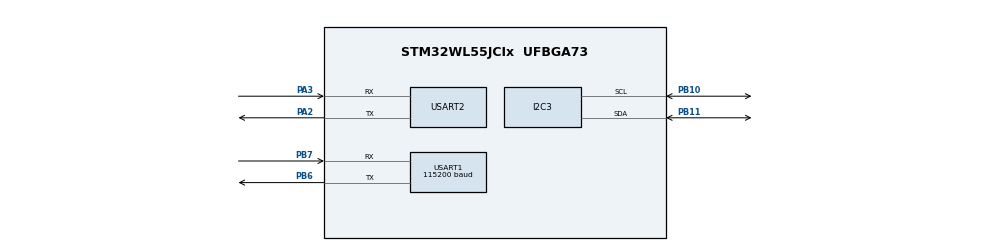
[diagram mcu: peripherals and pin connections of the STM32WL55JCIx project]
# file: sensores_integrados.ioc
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I2C3.Timing=0x00B07CB4
Mcu.Family=STM32WL
Mcu.Name=STM32WL55JCIx
Mcu.Package=UFBGA73
NVIC.I2C3_ER_IRQn=true\:0\:0\:false\:false\:true\:true\:true\:true
NVIC.I2C3_EV_IRQn=true\:0\:0\:false\:false\:true\:true\:true\:true
NVIC.PriorityGroup=NVIC_PRIORITYGROUP_4
NVIC.USART1_IRQn=true\:0\:0\:false\:false\:true\:true\:true\:true
NVIC.USART2_IRQn=true\:0\:0\:false\:false\:true\:true\:true\:true
PA2.Mode=Asynchronous
PA2.Signal=USART2_TX
PA3.Mode=Asynchronous
PA3.Signal=USART2_RX
PB10.GPIO_Pu=GPIO_PULLUP
PB10.Mode=I2C
PB10.Signal=I2C3_SCL
PB11.GPIO_Pu=GPIO_PULLUP
PB11.Mode=I2C
PB11.Signal=I2C3_SDA
PB6.Mode=Asynchronous
PB6.Signal=USART1_TX
PB7.Mode=Asynchronous
PB7.Signal=USART1_RX
ProjectManager.HeapSize=0x200
ProjectManager.StackSize=0x400
ProjectManager.TargetToolchain=STM32CubeIDE
RCC.AHBFreq_Value=32000000
RCC.APB1Freq_Value=32000000
RCC.APB1TimFreq_Value=32000000
RCC.APB2Freq_Value=32000000
RCC.APB2TimFreq_Value=32000000
RCC.APB3Freq_Value=32000000
RCC.CortexFreq_Value=32000000
RCC.HCLKFreq_Value=32000000
RCC.HSE_VALUE=8000000
RCC.HSI_VALUE=16000000
RCC.LSE_VALUE=32768
RCC.MSIClockRange=RCC_MSIRANGE_10
RCC.SYSCLKFreq_VALUE=32000000
RCC.VCOOutputFreq_Value=256000000
USART1.BaudRate=115200
USART1.VirtualMode-Asynchronous=VM_ASYNC
USART2.VirtualMode-Asynchronous=VM_ASYNC
board=custom

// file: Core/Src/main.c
/* USER CODE BEGIN Header */
/**
 ******************************************************************************
 * @file           : main.c
 * @brief          : Main program body
 ******************************************************************************
 */
/* USER CODE END Header */
#include "main.h"
#include "driver_bmp280.h"
#include "driver_bmp280_interface.h"
/* USER CODE BEGIN Includes */
#include <string.h>
#include <stdio.h>
#include <stdlib.h>
#include <bmi270_config.h>
#include <stdbool.h>
/* USER CODE END Includes */

/* USER CODE BEGIN PTD */
//Direcciones BMI270
#define BMI270_I2C_ADDR     (0x68 << 1)
#define REG_CHIP_ID         0x00
#define REG_PWR_CONF        0x7C
#define REG_INIT_CTRL       0x59
#define REG_INIT_DATA       0x5E
#define REG_INTERNAL_STATUS 0x21
#define REG_PWR_CTRL        0x7D
#define REG_ACC_CONF        0x40
#define REG_ACC_RANGE       0x41
#define REG_DATA_8          0x0C
#define REG_TEMP_LSB        0x22
//Direcciones SHT21
#define SHT21_I2C_ADDR   (0x40 << 1) // Dirección I2C desplazada 1 bit
#define CMD_MEASURE_T    0xF3        // Trigger T measurement (no hold master)
#define CMD_MEASURE_RH   0xF5        // Trigger RH measurement (no hold master)
//Dirección BMP280BMP280 (SDO GND)
#define BMP280_ADDRESS_0 	0x76
#define BMP280_REG_CTRL_MEAS 0xF4
#define BMP280_REG_CONFIG    0xF5
#define BMP280_REG_DATA      0xF7
/* USER CODE END PTD */

/* USER CODE BEGIN PD */
// FIX: Los defines de LoRa se eliminaron de aquí.
// Ahora viven únicamente en subghz_phy_app.c para evitar redefinición.
/* USER CODE END PD */

I2C_HandleTypeDef hi2c3;
UART_HandleTypeDef huart1;
UART_HandleTypeDef huart2;

/* USER CODE BEGIN PV */
uint8_t rx_data;
uint8_t rx_data_uart2; // Variable para capturar el input del menú

// --- ESTADOS DEL MENÚ ---
volatile uint8_t display_mode = 2; // 1 = ASCII, 2 = TLV (Default)
volatile uint8_t menu_active = 0;  // 0 = Mostrando datos, 1 = Mostrando menú

// --- BÚFER CIRCULAR GPS ---
#define RX_BUF_SIZE 512
volatile uint8_t rx_buffer[RX_BUF_SIZE];
volatile uint16_t rx_head = 0;
volatile uint16_t rx_tail = 0;

// --- PARSEO NMEA ---
char line_buffer[100];
uint8_t line_index = 0;

// --- BÚFER LORA TLV ---
uint8_t lora_tx_buffer[64];
uint8_t lora_tx_len = 0;

// FIX: radio_tx_done vive en subghz_phy_app.c, aquí solo la declaramos extern
extern volatile uint8_t radio_tx_done;
/* USER CODE END PV */

void SystemClock_Config(void);
static void MX_GPIO_Init(void);
static void MX_USART1_UART_Init(void);
static void MX_USART2_UART_Init(void);
static void MX_I2C3_Init(void);
/* USER CODE BEGIN PFP */
void UART_Print(const char *msg);
/* USER CODE END PFP */

/* USER CODE BEGIN 0 */

bmp280_handle_t gs_handle;

void BMI270_WriteReg(uint8_t reg, uint8_t val) {
	char dbg[70];
	snprintf(dbg, sizeof(dbg), "   [I2C] Escribiendo registro 0x%02X... ", reg);
	UART_Print(dbg);

	HAL_StatusTypeDef status = HAL_I2C_Mem_Write(&hi2c3, BMI270_I2C_ADDR, reg,
	I2C_MEMADD_SIZE_8BIT, &val, 1, 100);

	snprintf(dbg, sizeof(dbg), "Status HAL: %d\r\n", status);
	UART_Print(dbg);

	for (volatile int k = 0; k < 50000; k++)
		;
}

uint8_t BMI270_ReadReg(uint8_t reg) {
	uint8_t val = 0;
	HAL_I2C_Mem_Read(&hi2c3, BMI270_I2C_ADDR, reg, I2C_MEMADD_SIZE_8BIT, &val,
			1, 100);
	return val;
}

void BMI270_ReadRegs(uint8_t reg, uint8_t *data, uint16_t len) {
	HAL_I2C_Mem_Read(&hi2c3, BMI270_I2C_ADDR, reg, I2C_MEMADD_SIZE_8BIT, data,
			len, 100);
}

HAL_StatusTypeDef BMI270_LoadConfigFile(void) {
	UART_Print("   -> Configurando punteros 0x5B y 0x5C...\r\n");
	BMI270_WriteReg(0x5B, 0x00);
	BMI270_WriteReg(0x5C, 0x00);

	UART_Print("   -> Enviando 8KB de un solo golpe (Burst Write)...\r\n");

	HAL_StatusTypeDef status = HAL_I2C_Mem_Write(&hi2c3, BMI270_I2C_ADDR,
	REG_INIT_DATA, I2C_MEMADD_SIZE_8BIT, (uint8_t*) bmi270_config_file,
			bmi270_config_file_size, 1000);

	if (status != HAL_OK) {
		char err[60];
		snprintf(err, sizeof(err),
				"   [!] Error I2C en burst write. Codigo HAL: %d\r\n", status);
		UART_Print(err);
		return status;
	}

	UART_Print("   -> Transmision completada.\r\n");
	return HAL_OK;
}

void UART_Print(const char *msg) {
	HAL_UART_Transmit(&huart2, (uint8_t*) msg, strlen(msg), HAL_MAX_DELAY);
}

float BMI270_ReadTemperature(void) {
	uint8_t raw[2];
	BMI270_ReadRegs(REG_TEMP_LSB, raw, 2);
	int16_t raw_temp = (int16_t) ((raw[1] << 8) | raw[0]);
	return (raw_temp / 512.0f) + 23.0f;
}

void get_nmea_field(const char *nmea, uint8_t field_num, char *result) {
	uint8_t comma_count = 0;
	uint8_t i = 0, j = 0;
	while (nmea[i] != '\0' && nmea[i] != '*' && comma_count <= field_num) {
		if (nmea[i] == ',') {
			comma_count++;
		} else if (comma_count == field_num) {
			result[j++] = nmea[i];
		}
		i++;
	}
	result[j] = '\0';
}

void SHT21_Read(float *temperature, float *humidity) {
	uint8_t cmd;
	uint8_t data[3];
	uint16_t raw_val;
	// 1. Leer Temperatura
	cmd = CMD_MEASURE_T;
	HAL_I2C_Master_Transmit(&hi2c3, SHT21_I2C_ADDR, &cmd, 1, HAL_MAX_DELAY); // Enviamos el comando de medición de temperatura
	HAL_Delay(85); // Esperamos el tiempo máximo de conversión para 14 bits (85 ms)
	HAL_I2C_Master_Receive(&hi2c3, SHT21_I2C_ADDR, data, 3, HAL_MAX_DELAY); // Leemos 3 bytes: MSB, LSB y CRC
	// Unimos los bytes y ponemos a '0' los últimos 2 bits de estado (0xFC = 11111100 en binario)
	raw_val = (data[0] << 8) | (data[1] & 0xFC);
	*temperature = -46.85 + 175.72 * ((float) raw_val / 65536.0); // Aplicamos la fórmula del datasheet
	// 2. Leer Humedad Relativa
	cmd = CMD_MEASURE_RH;
	HAL_I2C_Master_Transmit(&hi2c3, SHT21_I2C_ADDR, &cmd, 1, HAL_MAX_DELAY); // Enviamos el comando de medición de humedad
	HAL_Delay(29); // Esperamos el tiempo máximo de conversión para 12 bits (29 ms)
	HAL_I2C_Master_Receive(&hi2c3, SHT21_I2C_ADDR, data, 3, HAL_MAX_DELAY); // Leemos 3 bytes: MSB, LSB y CRC
	raw_val = (data[0] << 8) | (data[1] & 0xFC); // Unimos los bytes y ponemos a '0' los últimos 2 bits de estado
	*humidity = -6.0 + 125.0 * ((float) raw_val / 65536.0);	// Aplicamos la fórmula del datasheet
}

void tlv_pack_3bytes(uint8_t type, uint8_t b1, uint8_t b2, uint8_t b3) {
	lora_tx_buffer[lora_tx_len++] = type;
	lora_tx_buffer[lora_tx_len++] = 3;
	lora_tx_buffer[lora_tx_len++] = b1;
	lora_tx_buffer[lora_tx_len++] = b2;
	lora_tx_buffer[lora_tx_len++] = b3;
}

void tlv_pack_int16(uint8_t type, int16_t val) {
	lora_tx_buffer[lora_tx_len++] = type;
	lora_tx_buffer[lora_tx_len++] = 2;
	lora_tx_buffer[lora_tx_len++] = (val >> 8) & 0xFF;
	lora_tx_buffer[lora_tx_len++] = val & 0xFF;
}

void tlv_pack_accel(uint8_t type, int16_t x, int16_t y, int16_t z) {
	lora_tx_buffer[lora_tx_len++] = type;
	lora_tx_buffer[lora_tx_len++] = 6;
	lora_tx_buffer[lora_tx_len++] = (x >> 8) & 0xFF;
	lora_tx_buffer[lora_tx_len++] = x & 0xFF;
	lora_tx_buffer[lora_tx_len++] = (y >> 8) & 0xFF;
	lora_tx_buffer[lora_tx_len++] = y & 0xFF;
	lora_tx_buffer[lora_tx_len++] = (z >> 8) & 0xFF;
	lora_tx_buffer[lora_tx_len++] = z & 0xFF;
}

void tlv_pack_gps_coords(uint8_t type, int32_t lat, int32_t lon) {
	lora_tx_buffer[lora_tx_len++] = type;
	lora_tx_buffer[lora_tx_len++] = 8;
	lora_tx_buffer[lora_tx_len++] = (lat >> 24) & 0xFF;
	lora_tx_buffer[lora_tx_len++] = (lat >> 16) & 0xFF;
	lora_tx_buffer[lora_tx_len++] = (lat >> 8) & 0xFF;
	lora_tx_buffer[lora_tx_len++] = lat & 0xFF;
	lora_tx_buffer[lora_tx_len++] = (lon >> 24) & 0xFF;
	lora_tx_buffer[lora_tx_len++] = (lon >> 16) & 0xFF;
	lora_tx_buffer[lora_tx_len++] = (lon >> 8) & 0xFF;
	lora_tx_buffer[lora_tx_len++] = lon & 0xFF;
}

int32_t nmea_to_int32(char *coord_str, char dir) {
	if (strlen(coord_str) == 0)
		return 0;
	float raw = atof(coord_str);
	int degrees = (int) (raw / 100.0f);
	float minutes = raw - (degrees * 100.0f);
	float decimal_deg = degrees + (minutes / 60.0f);
	if (dir == 'S' || dir == 'W')
		decimal_deg *= -1.0f;
	return (int32_t) (decimal_deg * 100000.0f);
}

/* USER CODE END 0 */

int main(void) {

	/* MCU Configuration--------------------------------------------------------*/

	/* Reset of all peripherals, Initializes the Flash interface and the Systick. */
	HAL_Init();

	/* Configure the system clock */
	SystemClock_Config();

	/* Initialize all configured peripherals */
	MX_GPIO_Init();
	MX_USART1_UART_Init();
	MX_USART2_UART_Init();
	MX_I2C3_Init();
	HAL_Delay(3000);
	UART_Print("Inicializando sistema de telemetria...\r\n");
	//BMP280
	// 1. Enlazar las funciones de la interfaz
	DRIVER_BMP280_LINK_INIT(&gs_handle, bmp280_handle_t);

	// Enlaces I2C (Los que ya arreglamos)
	DRIVER_BMP280_LINK_IIC_INIT(&gs_handle, bmp280_interface_iic_init);
	DRIVER_BMP280_LINK_IIC_DEINIT(&gs_handle, bmp280_interface_iic_deinit);
	DRIVER_BMP280_LINK_IIC_READ(&gs_handle, bmp280_interface_iic_read);
	DRIVER_BMP280_LINK_IIC_WRITE(&gs_handle, bmp280_interface_iic_write);

	// NUEVOS: Enlaces SPI (Ficticios para pasar el control de seguridad)
	DRIVER_BMP280_LINK_SPI_INIT(&gs_handle, bmp280_interface_spi_init);
	DRIVER_BMP280_LINK_SPI_DEINIT(&gs_handle, bmp280_interface_spi_deinit);
	DRIVER_BMP280_LINK_SPI_READ(&gs_handle, bmp280_interface_spi_read);
	DRIVER_BMP280_LINK_SPI_WRITE(&gs_handle, bmp280_interface_spi_write);

	// Enlaces misceláneos
	DRIVER_BMP280_LINK_DELAY_MS(&gs_handle, bmp280_interface_delay_ms);
	DRIVER_BMP280_LINK_DEBUG_PRINT(&gs_handle, bmp280_interface_debug_print);

	// 2. Configurar el protocolo e inicializar
	bmp280_set_interface(&gs_handle, BMP280_INTERFACE_IIC);
	bmp280_set_addr_pin(&gs_handle, BMP280_ADDRESS_0); // O BMP280_ADDR_GND dependiendo de tu pin SDO

	if (bmp280_init(&gs_handle) != 0) {
		UART_Print("Error al inicializar sensor BMP280\r\n");
	}

	// 3. Configuraciones básicas (recomendadas para clima/estándar)
	bmp280_set_temperature_oversampling(&gs_handle, BMP280_OVERSAMPLING_x1);
	bmp280_set_pressure_oversampling(&gs_handle, BMP280_OVERSAMPLING_x4);
	bmp280_set_standby_time(&gs_handle, BMP280_STANDBY_TIME_500_MS);
	bmp280_set_mode(&gs_handle, BMP280_MODE_NORMAL); // Arrancar mediciones continuas

	/* USER CODE BEGIN 2 */
	uint32_t raw_temperature_bmp;
	uint32_t raw_pressure;
	float temperature_bmp280, pressure;
	float temperature_sht21, hum;
	char uart_buf[100];
	// Iniciar interrupciones de recepción para ambos UARTs
	HAL_UART_Receive_IT(&huart1, &rx_data, 1);
	HAL_UART_Receive_IT(&huart2, &rx_data_uart2, 1);

	uint8_t chip_id = BMI270_ReadReg(REG_CHIP_ID);

	if (chip_id != 0x24) {
		char err[60];
		snprintf(err, sizeof(err),
				"ERROR: BMI270 CHIP_ID=0x%02X (esperado 0x24)\r\n", chip_id);
		HAL_UART_Transmit(&huart2, (uint8_t*) err, strlen(err), HAL_MAX_DELAY);
	} else {
		BMI270_WriteReg(REG_PWR_CONF, 0x00);
		HAL_Delay(1);
		BMI270_WriteReg(REG_INIT_CTRL, 0x00);
		HAL_Delay(1);
		BMI270_LoadConfigFile();
		HAL_Delay(20);
		BMI270_WriteReg(REG_INIT_CTRL, 0x01);
		HAL_Delay(20);
		BMI270_WriteReg(REG_ACC_CONF, 0xA8);
		HAL_Delay(1);
		BMI270_WriteReg(REG_ACC_RANGE, 0x02);
		HAL_Delay(1);
		BMI270_WriteReg(REG_PWR_CTRL, 0x0E);
		HAL_Delay(1);
		BMI270_WriteReg(REG_PWR_CONF, 0x02);
		HAL_Delay(2);
		BMI270_WriteReg(0x42, 0xA9);
		HAL_Delay(1);
		BMI270_WriteReg(0x43, 0x00);
		HAL_Delay(1);
		UART_Print("BMI270 OK.\r\n");
	}

	/* USER CODE END 2 */

	/* Infinite loop */
	/* USER CODE BEGIN WHILE */
	uint32_t last_gps_time = HAL_GetTick();
	uint32_t last_imu_time = HAL_GetTick();
	while (1) {

		uint8_t trigger_telemetry = 0;
		uint8_t gps_valid = 0;

		if (rx_head != rx_tail) {
			char c = (char) rx_buffer[rx_tail];
			rx_tail = (rx_tail + 1) % RX_BUF_SIZE;

			if (c == '\n' || line_index >= sizeof(line_buffer) - 1) {
				line_buffer[line_index] = '\0';

				if (strstr(line_buffer, "GGA") != NULL) {
					last_gps_time = HAL_GetTick();
					trigger_telemetry = 1;
					gps_valid = 1;
				}
				line_index = 0;
			} else if (c != '\r') {
				line_buffer[line_index++] = c;
			}
		}

		// ==========================================
		// TAREA 2: WATCHDOG (telemetría sin GPS)
		// ==========================================
		if (HAL_GetTick() - last_gps_time > 2000) {
			if (HAL_GetTick() - last_imu_time > 1000) {
				last_imu_time = HAL_GetTick();
				trigger_telemetry = 1;
				gps_valid = 0;
			}
		} else {
			last_imu_time = HAL_GetTick();
		}

		// ==========================================
		// TAREA 3: ENSAMBLAR Y ENVIAR PAQUETE TLV
		// ==========================================
		if (trigger_telemetry == 1) {
			lora_tx_len = 0;

			// Variables NMEA subidas de scope para usarlas en el ASCII print
			char time_str[15] = { 0 }, lat_str[15] = { 0 }, ns[2] = { 0 };
			char lon_str[15] = { 0 }, ew[2] = { 0 }, alt_str[10] = { 0 },
					fix_str[2] = { 0 };

			// 1. GPS (si tiene fix)
			if (gps_valid) {
				get_nmea_field(line_buffer, 1, time_str);
				get_nmea_field(line_buffer, 2, lat_str);
				get_nmea_field(line_buffer, 3, ns);
				get_nmea_field(line_buffer, 4, lon_str);
				get_nmea_field(line_buffer, 5, ew);
				get_nmea_field(line_buffer, 6, fix_str);
				get_nmea_field(line_buffer, 9, alt_str);

				if (fix_str[0] >= '1') {
					int utc_h = (time_str[0] - '0') * 10 + (time_str[1] - '0');
					int art_h = (utc_h - 3 < 0) ? utc_h - 3 + 24 : utc_h - 3;
					uint8_t m = (time_str[2] - '0') * 10 + (time_str[3] - '0');
					uint8_t s = (time_str[4] - '0') * 10 + (time_str[5] - '0');
					tlv_pack_3bytes(0x01, (uint8_t) art_h, m, s);

					int32_t lat_int = nmea_to_int32(lat_str, ns[0]);
					int32_t lon_int = nmea_to_int32(lon_str, ew[0]);
					tlv_pack_gps_coords(0x02, lat_int, lon_int);

					int16_t alt_int = (int16_t) atof(alt_str);
					tlv_pack_int16(0x03, alt_int);
				}
			}

			// 2. IMU (siempre)
			uint8_t raw[14];
			BMI270_ReadRegs(REG_DATA_8, raw, 14);

			int16_t acc_x = (int16_t) ((raw[1] << 8) | raw[0]);
			int16_t acc_y = (int16_t) ((raw[3] << 8) | raw[2]);
			int16_t acc_z = (int16_t) ((raw[5] << 8) | raw[4]);

			// Extraemos también el giroscopio
			int16_t gyr_x = (int16_t) ((raw[7] << 8) | raw[6]);
			int16_t gyr_y = (int16_t) ((raw[9] << 8) | raw[8]);
			int16_t gyr_z = (int16_t) ((raw[11] << 8) | raw[10]);

			float temp = BMI270_ReadTemperature();

			// Paquete TLV (usando valores crudos)
			tlv_pack_accel(0x04, acc_x, acc_y, acc_z);
			int16_t temp_scaled = (int16_t) (temp * 100.0f);
			tlv_pack_int16(0x05, temp_scaled);

			// Conversión a valores reales para el Print ASCII
			// (Basado en rango de +-8g configurado en REG_ACC_RANGE = 0x02 y giroscopio por defecto de +-2000dps)
			float ax_g = acc_x / 4096.0f;
			float ay_g = acc_y / 4096.0f;
			float az_g = acc_z / 4096.0f;

			float gx_dps = gyr_x / 16.4f;
			float gy_dps = gyr_y / 16.4f;
			float gz_dps = gyr_z / 16.4f;

			//SHT21 (SIEMPRE)
			SHT21_Read(&temperature_sht21, &hum);

			//BMP280 SIEMPRE

			if (bmp280_read_temperature_pressure(&gs_handle,
					&raw_temperature_bmp, &temperature_bmp280, &raw_pressure,
					&pressure) == 0) {
				sprintf(uart_buf, "Temperatura: %.2f C, Presion: %.2f Pa\r\n",
						temperature_bmp280, pressure);
			} else {
				UART_Print("Error al leer datos BMP280\r\n");
			}
			HAL_Delay(100);

			// 3. Debug por UART
			if (!menu_active) {
				if (display_mode == 2) {
					// MODO TLV
					char debug_msg[200] = "TLV [";
					char hex_byte[5];
					for (int i = 0; i < lora_tx_len; i++) {
						snprintf(hex_byte, sizeof(hex_byte), "%02X ",
								lora_tx_buffer[i]);
						strcat(debug_msg, hex_byte);
					}
					char tail_buf[20];
					snprintf(tail_buf, sizeof(tail_buf), "] %d bytes\r\n",
							lora_tx_len);
					strcat(debug_msg, tail_buf);
					UART_Print(debug_msg);
				} else if (display_mode == 1) {
					// MODO ASCII NORMAL (Formateado según imagen)
					char ascii_msg[300];

					// 1. Verificamos si pasaron más de 2 segundos sin datos (Desconectado)
					if (HAL_GetTick() - last_gps_time > 2000) {
						snprintf(ascii_msg, sizeof(ascii_msg),
								"[GPS] Tx desconectado\r\n"
										"[IMU] A: %+.2fg %+.2fg %+.2fg | G: %+.1fdps %+.1fdps %+.1fdps | T: %.1fC\r\n"
										"[SHT21] Temperatura: %.2f C | Humedad: %.2f %%\r\n"
										"[BMP280] Temperatura: %.2f C | Presión: %.2f\r\n",
								ax_g, ay_g, az_g, gx_dps, gy_dps, gz_dps, temp,
								temperature_sht21, hum, temperature_bmp280,
								pressure);
					}
					// 2. Verificamos si hay conexión y tenemos fix satelital
					else if (gps_valid && fix_str[0] >= '1') {
						snprintf(ascii_msg, sizeof(ascii_msg),
								"[GPS] Lat: %s %s, Lon: %s %s, Alt: %s m\r\n"
										"[IMU] A: %+.2fg %+.2fg %+.2fg | G: %+.1fdps %+.1fdps %+.1fdps | T: %.1fC\r\n"
										"[SHT21] Temperatura: %.2f C | Humedad: %.2f %%\r\n"
										"[BMP280] Temperatura: %.2f C | Presión: %.2f\r\n",
								lat_str, ns, lon_str, ew, alt_str, ax_g, ay_g,
								az_g, gx_dps, gy_dps, gz_dps, temp,
								temperature_sht21, hum, temperature_bmp280,
								pressure);
					}
					// 3. Hay conexión pero aún no hay fix
					else {
						snprintf(ascii_msg, sizeof(ascii_msg),
								"\r\n[GPS] Buscando satelites...\r\n"
										"[IMU] A: %+.2fg %+.2fg %+.2fg | G: %+.1fdps %+.1fdps %+.1fdps | T: %.1fC\r\n"
										"[SHT21] Temperatura: %.2f C | Humedad: %.2f %%\r\n"
										"[BMP280] Temperatura: %.2f C | Presión: %.2f\r\n",
								ax_g, ay_g, az_g, gx_dps, gy_dps, gz_dps, temp,
								temperature_sht21, hum, temperature_bmp280,
								pressure);
					}

					UART_Print(ascii_msg);
				}
			}
		}
		/* USER CODE END WHILE */

	}
}

void SystemClock_Config(void) {
	RCC_OscInitTypeDef RCC_OscInitStruct = { 0 };
	RCC_ClkInitTypeDef RCC_ClkInitStruct = { 0 };

	/** Configure the main internal regulator output voltage
	 */
	__HAL_PWR_VOLTAGESCALING_CONFIG(PWR_REGULATOR_VOLTAGE_SCALE1);

	/** Initializes the CPU, AHB and APB buses clocks
	 */
	RCC_OscInitStruct.OscillatorType = RCC_OSCILLATORTYPE_MSI;
	RCC_OscInitStruct.MSIState = RCC_MSI_ON;
	RCC_OscInitStruct.MSICalibrationValue = RCC_MSICALIBRATION_DEFAULT;
	RCC_OscInitStruct.MSIClockRange = RCC_MSIRANGE_10;
	RCC_OscInitStruct.PLL.PLLState = RCC_PLL_NONE;
	if (HAL_RCC_OscConfig(&RCC_OscInitStruct) != HAL_OK) {
		Error_Handler();
	}

	/** Configure the SYSCLKSource, HCLK, PCLK1 and PCLK2 clocks dividers
	 */
	RCC_ClkInitStruct.ClockType = RCC_CLOCKTYPE_HCLK3 | RCC_CLOCKTYPE_HCLK
			| RCC_CLOCKTYPE_SYSCLK | RCC_CLOCKTYPE_PCLK1 | RCC_CLOCKTYPE_PCLK2;
	RCC_ClkInitStruct.SYSCLKSource = RCC_SYSCLKSOURCE_MSI;
	RCC_ClkInitStruct.AHBCLKDivider = RCC_SYSCLK_DIV1;
	RCC_ClkInitStruct.APB1CLKDivider = RCC_HCLK_DIV1;
	RCC_ClkInitStruct.APB2CLKDivider = RCC_HCLK_DIV1;
	RCC_ClkInitStruct.AHBCLK3Divider = RCC_SYSCLK_DIV1;

	if (HAL_RCC_ClockConfig(&RCC_ClkInitStruct, FLASH_LATENCY_1) != HAL_OK) {
		Error_Handler();
	}
}

static void MX_I2C3_Init(void) {

	hi2c3.Instance = I2C3;
	hi2c3.Init.Timing = 0x00B07CB4;
	hi2c3.Init.OwnAddress1 = 0;
	hi2c3.Init.AddressingMode = I2C_ADDRESSINGMODE_7BIT;
	hi2c3.Init.DualAddressMode = I2C_DUALADDRESS_DISABLE;
	hi2c3.Init.OwnAddress2 = 0;
	hi2c3.Init.OwnAddress2Masks = I2C_OA2_NOMASK;
	hi2c3.Init.GeneralCallMode = I2C_GENERALCALL_DISABLE;
	hi2c3.Init.NoStretchMode = I2C_NOSTRETCH_DISABLE;
	if (HAL_I2C_Init(&hi2c3) != HAL_OK) {
		Error_Handler();
	}

	/** Configure Analogue filter
	 */
	if (HAL_I2CEx_ConfigAnalogFilter(&hi2c3, I2C_ANALOGFILTER_ENABLE)
			!= HAL_OK) {
		Error_Handler();
	}

	/** Configure Digital filter
	 */
	if (HAL_I2CEx_ConfigDigitalFilter(&hi2c3, 0) != HAL_OK) {
		Error_Handler();
	}

}

static void MX_USART1_UART_Init(void) {

	huart1.Instance = USART1;
	huart1.Init.BaudRate = 115200;
	huart1.Init.WordLength = UART_WORDLENGTH_8B;
	huart1.Init.StopBits = UART_STOPBITS_1;
	huart1.Init.Parity = UART_PARITY_NONE;
	huart1.Init.Mode = UART_MODE_TX_RX;
	huart1.Init.HwFlowCtl = UART_HWCONTROL_NONE;
	huart1.Init.OverSampling = UART_OVERSAMPLING_16;
	huart1.Init.OneBitSampling = UART_ONE_BIT_SAMPLE_DISABLE;
	huart1.Init.ClockPrescaler = UART_PRESCALER_DIV1;
	huart1.AdvancedInit.AdvFeatureInit = UART_ADVFEATURE_NO_INIT;
	if (HAL_UART_Init(&huart1) != HAL_OK) {
		Error_Handler();
	}
	if (HAL_UARTEx_SetTxFifoThreshold(&huart1, UART_TXFIFO_THRESHOLD_1_8)
			!= HAL_OK) {
		Error_Handler();
	}
	if (HAL_UARTEx_SetRxFifoThreshold(&huart1, UART_RXFIFO_THRESHOLD_1_8)
			!= HAL_OK) {
		Error_Handler();
	}
	if (HAL_UARTEx_DisableFifoMode(&huart1) != HAL_OK) {
		Error_Handler();
	}

}

static void MX_USART2_UART_Init(void) {

	huart2.Instance = USART2;
	huart2.Init.BaudRate = 115200;
	huart2.Init.WordLength = UART_WORDLENGTH_8B;
	huart2.Init.StopBits = UART_STOPBITS_1;
	huart2.Init.Parity = UART_PARITY_NONE;
	huart2.Init.Mode = UART_MODE_TX_RX;
	huart2.Init.HwFlowCtl = UART_HWCONTROL_NONE;
	huart2.Init.OverSampling = UART_OVERSAMPLING_16;
	huart2.Init.OneBitSampling = UART_ONE_BIT_SAMPLE_DISABLE;
	huart2.Init.ClockPrescaler = UART_PRESCALER_DIV1;
	huart2.AdvancedInit.AdvFeatureInit = UART_ADVFEATURE_NO_INIT;
	if (HAL_UART_Init(&huart2) != HAL_OK) {
		Error_Handler();
	}
	if (HAL_UARTEx_SetTxFifoThreshold(&huart2, UART_TXFIFO_THRESHOLD_1_8)
			!= HAL_OK) {
		Error_Handler();
	}
	if (HAL_UARTEx_SetRxFifoThreshold(&huart2, UART_RXFIFO_THRESHOLD_1_8)
			!= HAL_OK) {
		Error_Handler();
	}
	if (HAL_UARTEx_DisableFifoMode(&huart2) != HAL_OK) {
		Error_Handler();
	}

}

static void MX_GPIO_Init(void) {

	/* GPIO Ports Clock Enable */
	__HAL_RCC_GPIOB_CLK_ENABLE();
	__HAL_RCC_GPIOA_CLK_ENABLE();

}

/* USER CODE BEGIN 4 */

void HAL_UART_RxCpltCallback(UART_HandleTypeDef *huart) {
	// GPS UART
	if (huart->Instance == USART1) {
		rx_buffer[rx_head] = rx_data;
		rx_head = (rx_head + 1) % RX_BUF_SIZE;
		HAL_UART_Receive_IT(&huart1, &rx_data, 1);
	}
	// INTERFAZ DE USUARIO UART (DEBUG)
	else if (huart->Instance == USART2) {
		if (rx_data_uart2 == '0' && !menu_active) {
			// Abrir menú
			menu_active = 1;
			UART_Print("\r\n========================\r\n");
			UART_Print("     MENU DE AJUSTES    \r\n");
			UART_Print("========================\r\n");
			UART_Print("1. Modo ASCII (gps\\r\\nIMU)\r\n");
			UART_Print("2. Modo TLV (Hexadecimal)\r\n");
			UART_Print("Seleccione una opcion: ");
		} else if (menu_active) {
			// Procesar selección del menú
			if (rx_data_uart2 == '1') {
				display_mode = 1;
				menu_active = 0;
				UART_Print("1\r\n[+] Modo ASCII activado.\r\n");
			} else if (rx_data_uart2 == '2') {
				display_mode = 2;
				menu_active = 0;
				UART_Print("2\r\n[+] Modo TLV activado.\r\n");
			} else {
				UART_Print("\r\n[!] Opcion no valida. Seleccione 1 o 2: ");
			}
		}
		// Rehabilitar interrupción de recepción
		HAL_UART_Receive_IT(&huart2, &rx_data_uart2, 1);
	}
}

void HAL_UART_ErrorCallback(UART_HandleTypeDef *huart) {
	if (huart->Instance == USART1) {
		__HAL_UART_CLEAR_OREFLAG(huart);
		HAL_UART_Receive_IT(&huart1, &rx_data, 1);
	} else if (huart->Instance == USART2) {
		__HAL_UART_CLEAR_OREFLAG(huart);
		HAL_UART_Receive_IT(&huart2, &rx_data_uart2, 1);
	}
}

/* USER CODE END 4 */

void Error_Handler(void) {
	__disable_irq();
	while (1) {
	}
}
